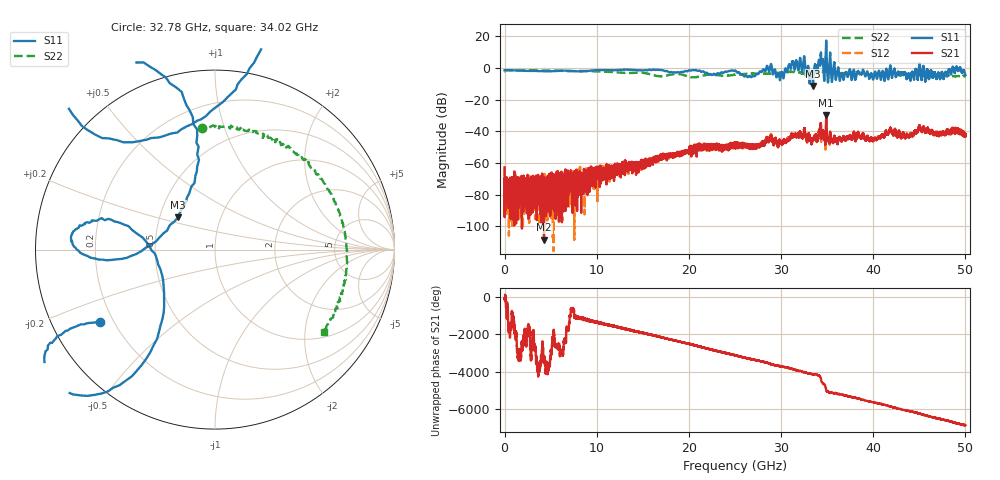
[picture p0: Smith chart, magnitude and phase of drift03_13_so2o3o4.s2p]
!Created with skrf (http://scikit-rf.org).
# Hz S RI R 50.0
!freq ReS11 ImS11 ReS21 ImS21 ReS12 ImS12 ReS22 ImS22
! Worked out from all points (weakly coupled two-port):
!   10001 points, 300 kHz to 50 GHz, reference 50 ohm
!   highest |S21| = -29.87 dB at 34.9 GHz (marker M1); lowest = -108.5 dB at 4.275 GHz (marker M2)
!   lowest |S11| = -11.3 dB at 33.47 GHz (marker M3), VSWR 1.75, Z = 31.2 + j12.2 ohm
!   |S11| at or under -10 dB: 33.44555 GHz to 33.48713 GHz (41.59 MHz wide, 0.124 % of centre)
!   |S22| runs from -5.9 to -1.3 dB; largest |S21 - S12| = 0.0091
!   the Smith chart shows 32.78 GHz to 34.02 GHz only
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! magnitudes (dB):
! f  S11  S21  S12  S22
! 300 kHz  -1.3  -62.7  -62.9  -2.0
! 280.3 MHz  -1.3  -81.6  -82.5  -1.4
! 4.275 GHz  -2.0  -108.5  -85.6  -1.6
! 8.335 GHz  -2.2  -69.8  -69.9  -1.9
! 16.67 GHz  -1.1  -57.9  -56.9  -5.2
! 21.12 GHz  -1.5  -51.2  -49.3  -5.4
! 25 GHz  -1.5  -50.4  -48.2  -4.3
! 26.92 GHz  -4.9  -50.2  -49.8  -3.6
! 28.73 GHz  -2.3  -45.2  -45.9  -3.5
! 30.06 GHz  -2.5  -47.9  -48.1  -2.8
! 31.88 GHz  -1.6  -42.9  -42.6  -2.9
! 33.34 GHz  -2.2  -47.7  -47.1  -2.9
! 33.47 GHz  -11.3  -45.1  -45.0  -2.8
! 34.3 GHz  7.1  -34.8  -35.5  -2.4
! 34.9 GHz  17.4  -29.9  -32.0  -2.4
! 36.58 GHz  -3.5  -45.5  -46.2  -3.6
! 40.16 GHz  -2.8  -44.7  -44.6  -3.7
! 41.67 GHz  -5.6  -40.6  -40.8  -3.6
! 45.22 GHz  -6.6  -39.2  -38.9  -4.6
! 47.07 GHz  -3.1  -41.5  -41.7  -5.0
! 49.22 GHz  -2.0  -40.4  -39.5  -5.1
! 50 GHz  -4.6  -42.5  -41.5  -5.0
